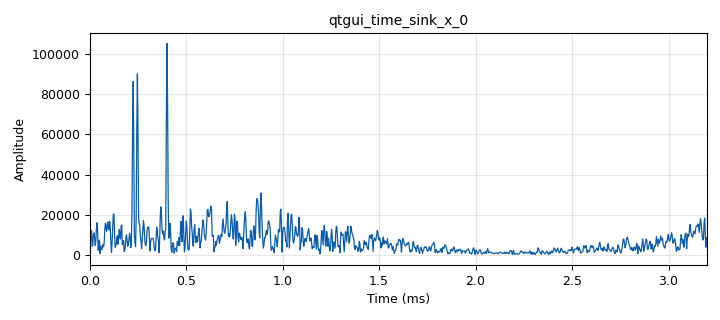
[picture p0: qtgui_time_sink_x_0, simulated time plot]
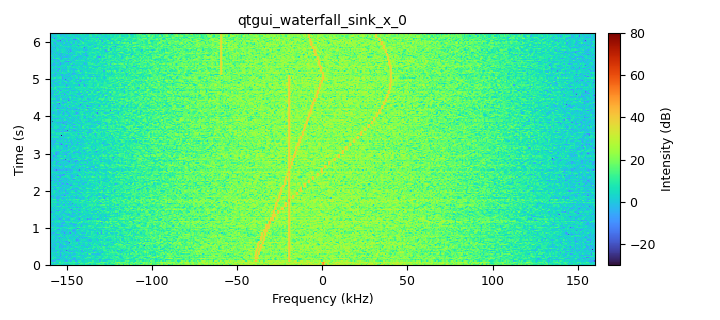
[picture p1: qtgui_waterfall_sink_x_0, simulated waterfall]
options:
  parameters:
    generate_options: qt_gui
    id: ex4_03
    output_language: python
    title: Figure 4.4 Linearity of correlation with three targets following a predetermined pattern
  states: {}

blocks:
- name: D
  id: variable_function_probe
  parameters:
    block_id: probe0
    function_name: level
    poll_rate: '10'
    value: '0'
  states: {}
- name: D1
  id: variable_function_probe
  parameters:
    block_id: probe1
    function_name: level
    poll_rate: '10'
    value: '0'
  states: {}
- name: D2
  id: variable_function_probe
  parameters:
    block_id: probe2
    function_name: level
    poll_rate: '10'
    value: '0'
  states: {}
- name: N
  id: variable
  parameters:
    value: '1024'
  states: {}
- name: samp_rate
  id: variable
  parameters:
    value: '320000'
  states: {}
- name: analog_noise_source_x_0
  id: analog_noise_source_x
  parameters:
    amp: '1'
    noise_type: analog.GR_GAUSSIAN
    seed: '0'
    type: complex
  states: {}
- name: analog_sig_source_x_0
  id: analog_sig_source_x
  parameters:
    amp: '128'
    comment: Delay 0 generator
    freq: '.1'
    offset: '0'
    phase: '0'
    samp_rate: samp_rate
    type: int
    waveform: analog.GR_TRI_WAVE
  states: {}
- name: analog_sig_source_x_1
  id: analog_sig_source_x
  parameters:
    amp: '128'
    comment: Delay 1 generator
    freq: '.1'
    offset: '64'
    phase: '0'
    samp_rate: samp_rate
    type: int
    waveform: analog.GR_SQR_WAVE
  states: {}
- name: analog_sig_source_x_2
  id: analog_sig_source_x
  parameters:
    amp: '128'
    comment: Delay 2 generator
    freq: '.1'
    offset: '0'
    phase: '0'
    samp_rate: samp_rate
    type: int
    waveform: analog.GR_COS_WAVE
  states: {}
- name: blocks_add_xx_0
  id: blocks_add_xx
  parameters:
    comment: surveillance antenna
    num_inputs: '3'
    type: complex
    vlen: N
  states: {}
- name: blocks_complex_to_mag_0
  id: blocks_complex_to_mag
  parameters:
    vlen: N
  states: {}
- name: blocks_delay_0
  id: blocks_delay
  parameters:
    comment: Delay 0
    delay: D
    type: complex
  states: {}
- name: blocks_delay_1
  id: blocks_delay
  parameters:
    comment: Delay 1
    delay: D1
    type: complex
  states: {}
- name: blocks_delay_2
  id: blocks_delay
  parameters:
    comment: Delay 2
    delay: D2
    type: complex
  states: {}
- name: blocks_multiply_conjugate_cc_0
  id: blocks_multiply_conjugate_cc
  parameters:
    comment: |-
      cross correlation of 
      reference signal and
      surveillance signal
    vlen: N
  states: {}
- name: blocks_stream_to_vector_0
  id: blocks_stream_to_vector
  parameters:
    num_items: N
    type: complex
  states: {}
- name: blocks_stream_to_vector_0_0
  id: blocks_stream_to_vector
  parameters:
    num_items: N
    type: complex
  states: {}
- name: blocks_stream_to_vector_0_0_0
  id: blocks_stream_to_vector
  parameters:
    num_items: N
    type: complex
  states: {}
- name: blocks_stream_to_vector_0_0_0_0
  id: blocks_stream_to_vector
  parameters:
    num_items: N
    type: complex
  states: {}
- name: blocks_throttle2_0
  id: blocks_throttle2
  parameters:
    samples_per_second: samp_rate
    type: complex
  states: {}
- name: blocks_throttle2_0_0
  id: blocks_throttle2
  parameters:
    samples_per_second: samp_rate
    type: int
  states: {}
- name: blocks_throttle2_0_0_0
  id: blocks_throttle2
  parameters:
    samples_per_second: samp_rate
    type: int
  states: {}
- name: blocks_throttle2_0_0_1
  id: blocks_throttle2
  parameters:
    samples_per_second: samp_rate
    type: int
  states: {}
- name: blocks_vector_to_stream_0
  id: blocks_vector_to_stream
  parameters:
    num_items: N
    type: float
  states: {}
- name: blocks_vector_to_stream_0_0
  id: blocks_vector_to_stream
  parameters:
    num_items: N
    type: complex
  states: {}
- name: fft_vxx_0
  id: fft_vxx
  parameters:
    fft_size: N
    forward: 'False'
    shift: 'True'
    type: complex
    window: window.blackmanharris(N)
  states: {}
- name: fft_vxx_0_0_0_0
  id: fft_vxx
  parameters:
    fft_size: N
    forward: 'False'
    shift: 'True'
    type: complex
    window: window.blackman(N)
  states: {}
- name: fft_vxx_1
  id: fft_vxx
  parameters:
    fft_size: N
    forward: 'True'
    shift: 'True'
    type: complex
    window: window.blackmanharris(N)
  states: {}
- name: probe0
  id: blocks_probe_signal_x
  parameters:
    type: int
  states: {}
- name: probe1
  id: blocks_probe_signal_x
  parameters:
    type: int
  states: {}
- name: probe2
  id: blocks_probe_signal_x
  parameters:
    type: int
  states: {}
- name: qtgui_time_sink_x_0
  id: qtgui_time_sink_x
  parameters:
    autoscale: 'True'
    size: N
    srate: samp_rate
    type: float
  states: {}
- name: qtgui_waterfall_sink_x_0
  id: qtgui_waterfall_sink_x
  parameters:
    bw: samp_rate
    fc: '0'
    fftsize: N
    int_max: '80'
    int_min: '-30'
    type: complex
  states: {}

connections:
- [analog_noise_source_x_0, '0', blocks_throttle2_0, '0']
- [analog_sig_source_x_0, '0', blocks_throttle2_0_0, '0']
- [analog_sig_source_x_1, '0', blocks_throttle2_0_0_0, '0']
- [analog_sig_source_x_2, '0', blocks_throttle2_0_0_1, '0']
- [blocks_add_xx_0, '0', fft_vxx_0_0_0_0, '0']
- [blocks_complex_to_mag_0, '0', blocks_vector_to_stream_0, '0']
- [blocks_delay_0, '0', blocks_stream_to_vector_0_0, '0']
- [blocks_delay_1, '0', blocks_stream_to_vector_0_0_0, '0']
- [blocks_delay_2, '0', blocks_stream_to_vector_0_0_0_0, '0']
- [blocks_multiply_conjugate_cc_0, '0', blocks_vector_to_stream_0_0, '0']
- [blocks_multiply_conjugate_cc_0, '0', fft_vxx_1, '0']
- [blocks_stream_to_vector_0, '0', fft_vxx_0, '0']
- [blocks_stream_to_vector_0_0, '0', blocks_add_xx_0, '0']
- [blocks_stream_to_vector_0_0_0, '0', blocks_add_xx_0, '1']
- [blocks_stream_to_vector_0_0_0_0, '0', blocks_add_xx_0, '2']
- [blocks_throttle2_0, '0', blocks_delay_0, '0']
- [blocks_throttle2_0, '0', blocks_delay_1, '0']
- [blocks_throttle2_0, '0', blocks_delay_2, '0']
- [blocks_throttle2_0, '0', blocks_stream_to_vector_0, '0']
- [blocks_throttle2_0_0, '0', probe0, '0']
- [blocks_throttle2_0_0_0, '0', probe1, '0']
- [blocks_throttle2_0_0_1, '0', probe2, '0']
- [blocks_vector_to_stream_0, '0', qtgui_time_sink_x_0, '0']
- [blocks_vector_to_stream_0_0, '0', qtgui_waterfall_sink_x_0, '0']
- [fft_vxx_0, '0', blocks_multiply_conjugate_cc_0, '0']
- [fft_vxx_0_0_0_0, '0', blocks_multiply_conjugate_cc_0, '1']
- [fft_vxx_1, '0', blocks_complex_to_mag_0, '0']

metadata:
  file_format: 1
  grc_version: 3.10.9.2
